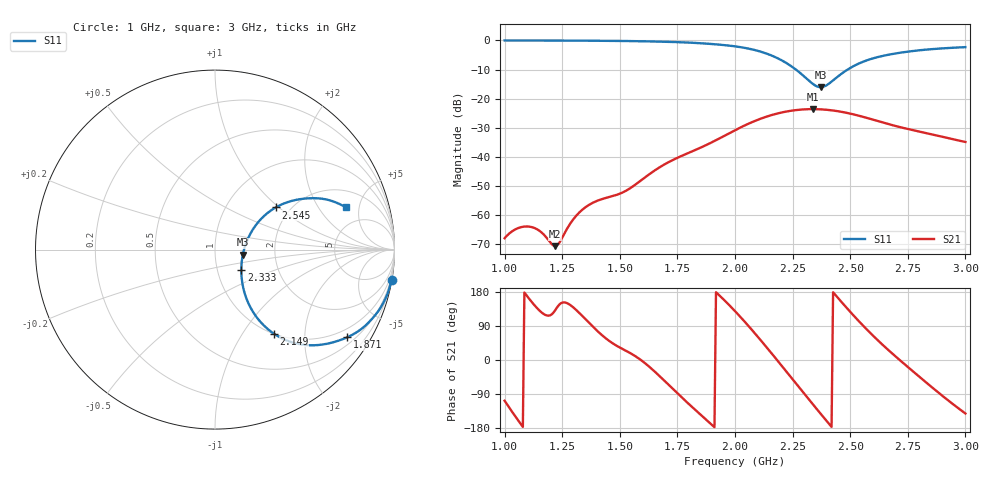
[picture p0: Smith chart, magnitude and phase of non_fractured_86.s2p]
! TOUCHSTONE file generated by CST MICROWAVE STUDIO
! Date and time: Sat Mar  8 13:54:34 2025
! Project name: non_fractured.cst
! Parameters = {B=2.5; D=160; F=5; Feed=2.85625; L=100; M=10; R=0.384908; S=1.5; Theta=90; length=57.125; wave=114.25}
! Header version: 2024
! Port assignment regex: !\s*Touchstone port\s*([0-9]+)\s*=\s*(CST MWS port|CST DES external port|CST DES block port)\s*(.+)\s* \(\"(.*)\"\)(\s*mode\s*([0-9]+))?.*
! Touchstone port assignment:
! Touchstone port 1 = CST MWS port 1 ("")
! Touchstone port 2 = CST MWS port 2 ("")
# GHz S DB R 50
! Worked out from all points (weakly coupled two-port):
!   304 points, 1 GHz to 3 GHz, reference 50 ohm
!   highest |S21| = -23.59 dB at 2.34 GHz (marker M1); lowest = -70.6 dB at 1.218 GHz (marker M2)
!   lowest |S11| = -16.1 dB at 2.373 GHz (marker M3), VSWR 1.37, Z = 68.2 - j3.88 ohm
!   |S11| at or under -10 dB: 2.264 GHz to 2.489 GHz (224.8 MHz wide, 9.46 % of centre)
!   S12 and S22 are empty: the file has one direction only
!   S11 on the Smith chart (normalised r, x): 1 GHz: 0, -12; 1.871 GHz: 0.71, -3.17; 2.149 GHz: 1.00, -1.39; 2.333 GHz: 1.30, -0.31; 2.545 GHz: 1.69, +0.96; 3 GHz: 3.20, +3.67
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1  -0.02 -9.7  -67.89 -107.5  -200.00 0.0  -200.00 0.0
1.05281  -0.02 -10.5  -64.61 -154.3  -200.00 0.0  -200.00 0.0
1.11221  -0.03 -11.3  -63.99 157.2  -200.00 0.0  -200.00 0.0
1.15842  -0.04 -12.0  -65.79 126.6  -200.00 0.0  -200.00 0.0
1.21782  -0.05 -13.0  -70.63 129.8  -200.00 0.0  -200.00 0.0
1.23102  -0.05 -13.2  -70.13 141.6  -200.00 0.0  -200.00 0.0
1.29043  -0.07 -14.3  -62.23 142.7  -200.00 0.0  -200.00 0.0
1.33663  -0.09 -15.2  -58.16 116.5  -200.00 0.0  -200.00 0.0
1.39604  -0.12 -16.5  -55.24 80.3  -200.00 0.0  -200.00 0.0
1.52805  -0.21 -19.8  -51.55 23.9  -200.00 0.0  -200.00 0.0
1.66667  -0.41 -24.2  -43.86 -39.1  -200.00 0.0  -200.00 0.0
1.87129  -1.08 -33.6  -36.06 -155.4  -200.00 0.0  -200.00 0.0
2.0033  -2.07 -42.4  -30.70 126.9  -200.00 0.0  -200.00 0.0
2.14851  -4.87 -55.0  -25.87 25.2  -200.00 0.0  -200.00 0.0
2.24092  -8.68 -58.4  -24.17 -44.0  -200.00 0.0  -200.00 0.0
2.33333  -14.65 -37.7  -23.59 -113.4  -200.00 0.0  -200.00 0.0
2.33993  -15.05 -33.9  -23.59 -118.3  -200.00 0.0  -200.00 0.0
2.37294  -16.05 -10.1  -23.66 -142.8  -200.00 0.0  -200.00 0.0
2.46535  -11.26 31.6  -24.56 150.9  -200.00 0.0  -200.00 0.0
2.54455  -7.69 34.8  -26.00 97.9  -200.00 0.0  -200.00 0.0
2.66997  -4.85 29.8  -28.81 23.9  -200.00 0.0  -200.00 0.0
3  -2.31 17.9  -34.85 -141.2  -200.00 0.0  -200.00 0.0
